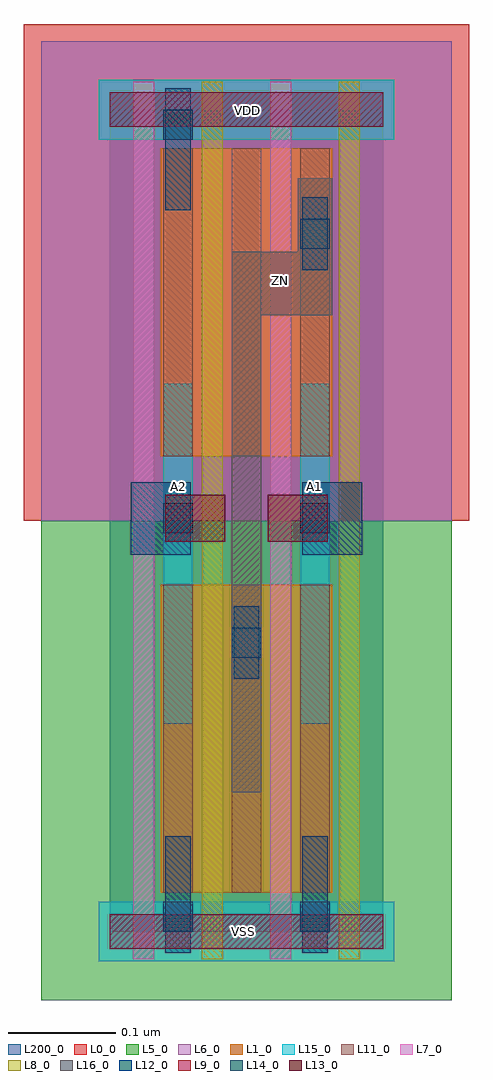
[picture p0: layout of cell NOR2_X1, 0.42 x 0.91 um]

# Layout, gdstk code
import gdstk
lib = gdstk.Library(unit=1e-6, precision=1e-09)
def R(c, l, rs):  # rectangles x0, y0, x1, y1
    for r in rs: c.add(gdstk.rectangle(r[:2], r[2:], *l))
def A(c, l, x, y, w, h, nx, ny, dx, dy):  # array of equal rectangles
    R(c, l, [(x+i*dx, y+j*dy, x+i*dx+w, y+j*dy+h) for i in range(nx) for j in range(ny)])
def P(c, l, *ps):  # polygons
    for p in ps: c.add(gdstk.Polygon(p, *l))
L0_0 = (0, 0)
L1_0 = (1, 0)
L5_0 = (5, 0)
L6_0 = (6, 0)
L7_0 = (7, 0)
L8_0 = (8, 0)
L9_0 = (9, 0)
L11_0 = (11, 0)
L12_0 = (12, 0)
L13_0 = (13, 0)
L14_0 = (14, 0)
L15_0 = (15, 0)
L16_0 = (16, 0)
L200_0 = (200, 0)

nor2_x1 = lib.new_cell('NOR2_X1')
R(nor2_x1, L0_0, [(-0.08,0.384,0.336,0.848)])
R(nor2_x1, L1_0, [(0.048,0.036,0.208,0.324), (0.048,0.444,0.208,0.732)])
R(nor2_x1, L5_0, [(-0.064,-0.064,0.32,0.384)])
R(nor2_x1, L6_0, [(-0.064,0.384,0.32,0.832)])
R(nor2_x1, L7_0, [(0.022,-0.026,0.042,0.794), (0.15,-0.026,0.17,0.794)])
R(nor2_x1, L8_0, [(0.086,-0.026,0.106,0.794), (0.214,-0.026,0.234,0.794)])
R(nor2_x1, L9_0, [(0,-0.016,0.256,0.016), (0,0.752,0.256,0.784)])
A(nor2_x1, L11_0, 0.05, 0.036, 0.028, 0.288, 3, 2, 0.064, 0.408)
R(nor2_x1, L12_0, [(0.052,-0.02,0.076,0.089), (0.18,-0.02,0.204,0.089), (0.116,0.236,0.14,0.304), (0.02,0.352,0.076,0.42), (0.18,0.352,0.236,0.42), (0.18,0.618,0.204,0.686), (0.052,0.674,0.076,0.788)])
R(nor2_x1, L13_0, [(0.052,0.364,0.108,0.408), (0.148,0.364,0.204,0.408)])
R(nor2_x1, L14_0, [(0.05,0,0.078,0.028), (0.178,0,0.206,0.028), (0.114,0.256,0.142,0.284), (0.05,0.372,0.078,0.4), (0.178,0.372,0.206,0.4), (0.178,0.638,0.206,0.666), (0.05,0.74,0.078,0.768)])
R(nor2_x1, L15_0, [(-0.01,-0.028,0.266,0.028), (0.05,0.194,0.078,0.512), (0.178,0.194,0.206,0.512), (-0.01,0.74,0.266,0.796)])
P(nor2_x1, L16_0, [(0.114,0.13),(0.142,0.13),(0.142,0.576),(0.208,0.576),(0.208,0.704),(0.176,0.704),(0.176,0.635),(0.114,0.635)])
R(nor2_x1, L200_0, [(0,0,0.256,0.768)])
nor2_x1.add(gdstk.Label('VSS', (0.125,0), layer=15, texttype=20))
nor2_x1.add(gdstk.Label('A2', (0.064,0.416), layer=15, texttype=20))
nor2_x1.add(gdstk.Label('A1', (0.192,0.416), layer=15, texttype=20))
nor2_x1.add(gdstk.Label('VDD', (0.129,0.767), layer=15, texttype=20))
nor2_x1.add(gdstk.Label('ZN', (0.16,0.608), layer=16, texttype=20))

lib.write_gds('NOR2_X1.gds')
